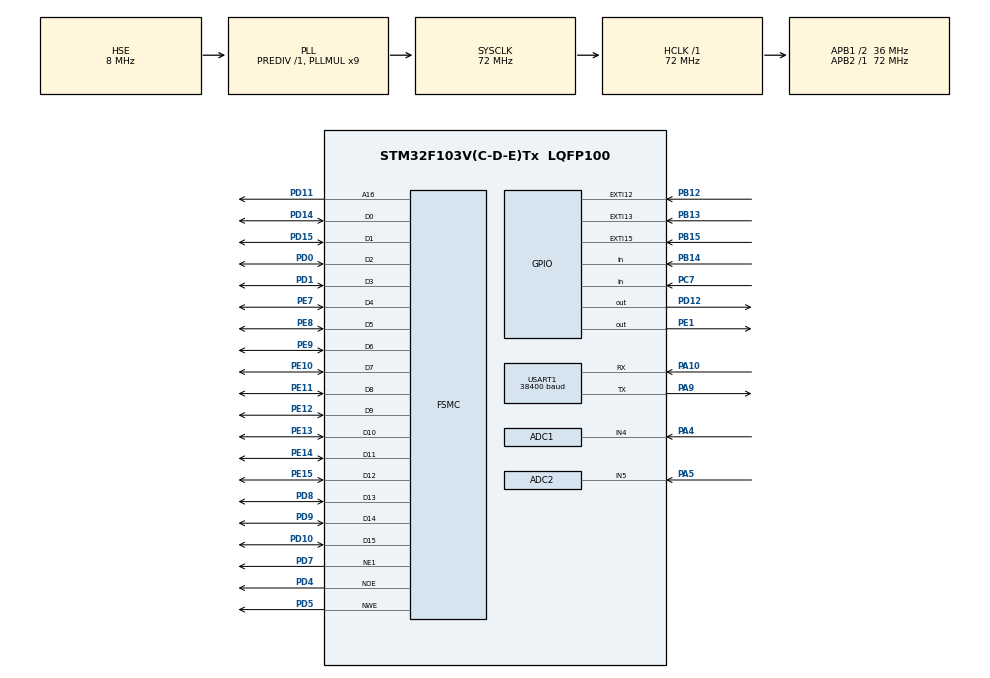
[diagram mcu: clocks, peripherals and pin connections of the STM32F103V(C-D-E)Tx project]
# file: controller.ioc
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ADC1.Channel-1\#ChannelRegularConversion=ADC_CHANNEL_4
ADC1.NbrOfConversion=1
ADC1.NbrOfConversionFlag=1
ADC1.Rank-1\#ChannelRegularConversion=1
ADC1.SamplingTime-1\#ChannelRegularConversion=ADC_SAMPLETIME_1CYCLE_5
ADC1.master=1
ADC2.Channel-0\#ChannelRegularConversion=ADC_CHANNEL_5
ADC2.NbrOfConversionFlag=1
ADC2.Rank-0\#ChannelRegularConversion=1
ADC2.SamplingTime-0\#ChannelRegularConversion=ADC_SAMPLETIME_1CYCLE_5
Dma.Request0=USART1_RX
Dma.USART1_RX.0.Direction=DMA_PERIPH_TO_MEMORY
Dma.USART1_RX.0.Instance=DMA1_Channel5
Dma.USART1_RX.0.MemDataAlignment=DMA_MDATAALIGN_BYTE
Dma.USART1_RX.0.MemInc=DMA_MINC_ENABLE
Dma.USART1_RX.0.Mode=DMA_CIRCULAR
Dma.USART1_RX.0.PeriphDataAlignment=DMA_PDATAALIGN_BYTE
Dma.USART1_RX.0.PeriphInc=DMA_PINC_DISABLE
Dma.USART1_RX.0.Priority=DMA_PRIORITY_LOW
Mcu.Family=STM32F1
Mcu.Name=STM32F103V(C-D-E)Tx
Mcu.Package=LQFP100
NVIC.DMA1_Channel5_IRQn=true\:0\:0\:false\:false\:true\:false\:true\:true
NVIC.EXTI15_10_IRQn=true\:0\:0\:false\:false\:true\:true\:true\:true
NVIC.PriorityGroup=NVIC_PRIORITYGROUP_4
NVIC.USART1_IRQn=true\:0\:0\:false\:false\:true\:true\:true\:true
OSC_IN.Mode=HSE-External-Oscillator
OSC_IN.Signal=RCC_OSC_IN
OSC_OUT.Mode=HSE-External-Oscillator
OSC_OUT.Signal=RCC_OSC_OUT
PA10.Mode=Asynchronous
PA10.Signal=USART1_RX
PA13.Mode=Serial_Wire
PA13.Signal=SYS_JTMS-SWDIO
PA14.Mode=Serial_Wire
PA14.Signal=SYS_JTCK-SWCLK
PA4.Signal=ADCx_IN4
PA5.Signal=ADCx_IN5
PA9.Mode=Asynchronous
PA9.Signal=USART1_TX
PB12.GPIO_ModeDefaultEXTI=GPIO_MODE_IT_RISING_FALLING
PB12.GPIO_PuPd=GPIO_PULLUP
PB12.Signal=GPXTI12
PB13.GPIO_ModeDefaultEXTI=GPIO_MODE_IT_FALLING
PB13.Signal=GPXTI13
PB14.Signal=GPIO_Input
PB15.GPIO_ModeDefaultEXTI=GPIO_MODE_IT_RISING
PB15.GPIO_PuPd=GPIO_PULLDOWN
PB15.Signal=GPXTI15
PC14-OSC32_IN.Mode=LSE-External-Oscillator
PC14-OSC32_IN.Signal=RCC_OSC32_IN
PC15-OSC32_OUT.Mode=LSE-External-Oscillator
PC15-OSC32_OUT.Signal=RCC_OSC32_OUT
PC5.Signal=ADCx_IN15
PC7.Signal=GPIO_Input
PD0.Mode=16b-d1
PD0.Signal=FSMC_D2
PD1.Mode=16b-d1
PD1.Signal=FSMC_D3
PD10.Mode=16b-d1
PD10.Signal=FSMC_D15
PD11.Mode=A16_1
PD11.Signal=FSMC_A16
PD12.GPIO_Speed=GPIO_SPEED_FREQ_HIGH
PD12.Signal=GPIO_Output
PD14.Mode=16b-d1
PD14.Signal=FSMC_D0
PD15.Mode=16b-d1
PD15.Signal=FSMC_D1
PD4.Mode=Lcd1
PD4.Signal=FSMC_NOE
PD5.Mode=Lcd1
PD5.Signal=FSMC_NWE
PD7.Mode=NorPsramChipSelect1_1
PD7.Signal=FSMC_NE1
PD8.Mode=16b-d1
PD8.Signal=FSMC_D13
PD9.Mode=16b-d1
PD9.Signal=FSMC_D14
PE1.GPIO_Speed=GPIO_SPEED_FREQ_HIGH
PE1.Signal=GPIO_Output
PE10.Mode=16b-d1
PE10.Signal=FSMC_D7
PE11.Mode=16b-d1
PE11.Signal=FSMC_D8
PE12.Mode=16b-d1
PE12.Signal=FSMC_D9
PE13.Mode=16b-d1
PE13.Signal=FSMC_D10
PE14.Mode=16b-d1
PE14.Signal=FSMC_D11
PE15.Mode=16b-d1
PE15.Signal=FSMC_D12
PE7.Mode=16b-d1
PE7.Signal=FSMC_D4
PE8.Mode=16b-d1
PE8.Signal=FSMC_D5
PE9.Mode=16b-d1
PE9.Signal=FSMC_D6
ProjectManager.HeapSize=0x200
ProjectManager.StackSize=0x400
ProjectManager.TargetToolchain=STM32CubeIDE
RCC.ADCPresc=RCC_ADCPCLK2_DIV6
RCC.AHBFreq_Value=72000000
RCC.APB1CLKDivider=RCC_HCLK_DIV2
RCC.APB1Freq_Value=36000000
RCC.APB1TimFreq_Value=72000000
RCC.APB2Freq_Value=72000000
RCC.APB2TimFreq_Value=72000000
RCC.HCLKFreq_Value=72000000
RCC.PLLMUL=RCC_PLL_MUL9
RCC.PLLSourceVirtual=RCC_PLLSOURCE_HSE
RCC.SYSCLKFreq_VALUE=72000000
RCC.SYSCLKSource=RCC_SYSCLKSOURCE_PLLCLK
RCC.USBFreq_Value=72000000
SH.ADCx_IN15.0=ADC1_IN15
SH.ADCx_IN4.0=ADC1_IN4,IN4
SH.ADCx_IN5.0=ADC2_IN5,IN5
USART1.BaudRate=38400
USART1.VirtualMode=VM_ASYNC
board=custom

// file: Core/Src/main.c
/* USER CODE BEGIN Header */
/**
  ******************************************************************************
  * @file           : main.c
  * @brief          : Main program body
  ******************************************************************************
  * @attention
  *
  * Copyright (c) 2025 STMicroelectronics.
  * All rights reserved.
  *
  * This software is licensed under terms that can be found in the LICENSE file
  * in the root directory of this software component.
  * If no LICENSE file comes with this software, it is provided AS-IS.
  *
  ******************************************************************************
  */
/* USER CODE END Header */
#include "main.h"

/* USER CODE BEGIN Includes */
#include "lcd.h"
#include "setting.h"
#include "adc_handler.h"
#include "uart_comm.h"
#include "display_manager.h"
#include "callback.h"
#include "car_map.h"
#include "car_vector.h"
#include "uart_handler.h"

/* USER CODE END Includes */

/* USER CODE BEGIN PD */
#define DMA_BUFFER_SIZE 256
#define MAP_CENTER_X 112
#define MAP_CENTER_Y 192
#define CAR_TOPLEFT_X 112
#define CAR_TOPLEFT_Y 192
#define DISPLAY_CENTER_X 120    // Center x-coordinate of the map display area
#define DISPLAY_CENTER_Y 200    // Center y-coordinate of the map display area (80 + 240/2)
#define DISPLAY_WIDTH 240       // Width of the map display area
#define DISPLAY_HEIGHT 240

/* USER CODE END PD */

ADC_HandleTypeDef hadc1;
ADC_HandleTypeDef hadc2;
UART_HandleTypeDef huart1;
DMA_HandleTypeDef hdma_usart1_rx;
SRAM_HandleTypeDef hsram1;

/* USER CODE BEGIN PV */

volatile int8_t scaling = 2; // Position counter updated in ISR
volatile uint32_t last_pb12_interrupt_time = 0;
volatile uint32_t last_pb15_interrupt_time = 0;
volatile uint32_t last_pb13_interrupt_time = 0;
volatile uint8_t control_page_toggle = 0; // 0=main, 1=control
volatile uint8_t spinner_action = 0;
volatile uint8_t drawmap_interrupt_flag = 0;
int8_t control_current_value[16] = {0}; // Total 16 settings
int16_t car_x_pos = 0;
int16_t car_y_pos = 0;
uint8_t global_var1[11];
uint8_t global_var2[7];
uint8_t selected_index = 0;
char str[32];
const Setting mySetting = {
    .min = {1, 10, 0, 1, 10, -90, 10, 1, 0, 0, 0, 0, 0, 0, 0, 0},
    .max = {5, 50, 1, 10, 90, 90, 127, 6, 0, 0, 0, 0, 0, 0, 0, 0},
    .step = {1, 5, 1, 1, 5, 1, 5, 1, 0, 0, 0, 0, 0, 0, 0, 0},
    .num_setting = 8,
    .setting_names = {
        "Max Movement Speed",
        "Max Steering Angle",
        "Enable Scan",
        "Scan Cycle",
        "Scan Range",
        "Scan Offset",
        "Scan Distance",
        "Safty Distance"
        // Remaining 10 elements (6 to 15) are automatically NULL
    },
    .setting_unit = {
      "cm/s","deg","T/F","s/cycle","deg","deg","cm","cm"
    }
};

/* USER CODE END PV */

void SystemClock_Config(void);
static void MX_GPIO_Init(void);
static void MX_DMA_Init(void);
static void MX_USART1_UART_Init(void);
static void MX_FSMC_Init(void);
static void MX_ADC1_Init(void);
static void MX_ADC2_Init(void);
/* USER CODE BEGIN PFP */
void HAL_GPIO_EXTI_Callback(uint16_t GPIO_Pin);

/* USER CODE END PFP */

/* USER CODE BEGIN 0 */

void HAL_GPIO_EXTI_Callback(uint16_t GPIO_Pin)
 {
  //if (drawmap_interrupt_flag==1) return;

	if (GPIO_Pin == GPIO_PIN_13) {
	        if (control_page_toggle == 0)  //car mode
	        	handle_car_map(GPIO_Pin);
	        else if (control_page_toggle == 1)  // Config mode
	        	 handle_control_setting(GPIO_Pin);
	    }
   if (GPIO_Pin == GPIO_PIN_15) {
	   handle_page_flag_toggle(GPIO_Pin);
   }

   if (GPIO_Pin == GPIO_PIN_12) {

	   if (control_page_toggle==0){
      handle_speaker_action(GPIO_Pin);
      }
   }
 }

 void onChunkUpdated(Vec2i8 chunk_coord, uint64_t chunkData) {
  //if (drawmap_interrupt_flag==1) return;
  if (control_page_toggle == 0){

   // Compute global pixel coordinates for the chunk
   int16_t min_global_x = chunk_coord.x * CHUNK_PIXEL_DIM;
   int16_t max_global_x = min_global_x + CHUNK_PIXEL_DIM - 1;
   int16_t min_global_y = chunk_coord.y * CHUNK_PIXEL_DIM;
   int16_t max_global_y = min_global_y + CHUNK_PIXEL_DIM - 1;

   // Compute the range of global coordinates visible on the display with scaling
   int offset = DISPLAY_WIDTH / (2 * scaling);  // e.g., 240 / 4 = 60 for scaling = 2
   int16_t display_min_global_x = car_x_pos - offset;           // e.g., car_x_pos - 60
   int16_t display_max_global_x = car_x_pos + offset - 1;       // e.g., car_x_pos + 59
   int16_t display_min_global_y = car_y_pos - offset;           // e.g., car_y_pos - 60
   int16_t display_max_global_y = car_y_pos + offset - 1;       // e.g., car_y_pos + 59

   // Compute the overlapping region between the chunk and the display area
   int16_t overlap_min_x = (min_global_x > display_min_global_x) ? min_global_x : display_min_global_x;
   int16_t overlap_max_x = (max_global_x < display_max_global_x) ? max_global_x : display_max_global_x;
   int16_t overlap_min_y = (min_global_y > display_min_global_y) ? min_global_y : display_min_global_y;
   int16_t overlap_max_y = (max_global_y < display_max_global_y) ? max_global_y : display_max_global_y;

   // If there’s an overlap, draw the pixels
   if (overlap_min_x <= overlap_max_x && overlap_min_y <= overlap_max_y) {
       for (int16_t global_y = overlap_min_y; global_y <= overlap_max_y; global_y++) {
           for (int16_t global_x = overlap_min_x; global_x <= overlap_max_x; global_x++) {
               // Compute local coordinates within the chunk
               int8_t local_x = global_x - min_global_x;
               int8_t local_y = global_y - min_global_y;
               uint64_t bitIndex = (uint64_t)local_y * CHUNK_PIXEL_DIM + (uint64_t)local_x;
               uint8_t pixel = (chunkData >> bitIndex) & 1ULL;

               // Compute base LCD coordinates with scaling, centering the car at (120, 200)
               int16_t lcd_x_base = DISPLAY_CENTER_X + scaling * (global_x - car_x_pos);
               int16_t lcd_y_base = DISPLAY_CENTER_Y + scaling * (global_y - car_y_pos);

               // Determine the color based on the pixel value
               uint16_t color = (pixel == 1) ? BLACK : BACKGROUND;

               // Draw a scaling x scaling block (e.g., 2x2 for scaling = 2)
               for (int dy = 0; dy < scaling; dy++) {
                   for (int dx = 0; dx < scaling; dx++) {
                       int16_t lcd_x = lcd_x_base + dx;
                       int16_t lcd_y = lcd_y_base + dy;
                       // Ensure the pixel is within the map display area (0-239, 80-319)
                       if (lcd_x >= 0 && lcd_x < DISPLAY_WIDTH && lcd_y >= 80 && lcd_y < 80 + DISPLAY_HEIGHT) {
                           LCD_DrawDot(lcd_x, lcd_y, color);
                       }
                   }
               }
           }
       }
   }
  }
}

/* USER CODE END 0 */

int main(void)
{

  /* MCU Configuration--------------------------------------------------------*/

  /* Reset of all peripherals, Initializes the Flash interface and the Systick. */
  HAL_Init();

  /* Configure the system clock */
  SystemClock_Config();

  /* Initialize all configured peripherals */
  MX_GPIO_Init();
  MX_DMA_Init();
  MX_USART1_UART_Init();
  MX_FSMC_Init();
  MX_ADC1_Init();
  MX_ADC2_Init();
  /* USER CODE BEGIN 2 */

 LCD_INIT();
 HAL_ADCEx_Calibration_Start(&hadc1);
 HAL_ADCEx_Calibration_Start(&hadc2);
 start_uart_dma();
  /* USER CODE END 2 */

  /* Infinite loop */
  /* USER CODE BEGIN WHILE */
 static uint8_t last_page_toggle = 255;
  while (1)
  {
	  if (HAL_GPIO_ReadPin(GPIOC, GPIO_PIN_7) == GPIO_PIN_RESET) {
	             display_disconnected();
	         } else {
	             handle_page_toggle(&last_page_toggle);
	             if (control_page_toggle == 0) { //Car mode
	                 process_adc_and_transmit(); //car movement control
                   draw_car_information(global_var2); //7 bytes
                   display_arrow_inmap(global_var2[1],global_var2[2]); //dir,speed
	             } else {  //Config mode
	                 process_control_mode();
	             }
	         }
	  process_packets();
	  HAL_Delay(100);
}

    /* USER CODE END WHILE */

}

void SystemClock_Config(void)
{
  RCC_OscInitTypeDef RCC_OscInitStruct = {0};
  RCC_ClkInitTypeDef RCC_ClkInitStruct = {0};
  RCC_PeriphCLKInitTypeDef PeriphClkInit = {0};

  /** Initializes the RCC Oscillators according to the specified parameters
  * in the RCC_OscInitTypeDef structure.
  */
  RCC_OscInitStruct.OscillatorType = RCC_OSCILLATORTYPE_HSE;
  RCC_OscInitStruct.HSEState = RCC_HSE_ON;
  RCC_OscInitStruct.HSEPredivValue = RCC_HSE_PREDIV_DIV1;
  RCC_OscInitStruct.HSIState = RCC_HSI_ON;
  RCC_OscInitStruct.PLL.PLLState = RCC_PLL_ON;
  RCC_OscInitStruct.PLL.PLLSource = RCC_PLLSOURCE_HSE;
  RCC_OscInitStruct.PLL.PLLMUL = RCC_PLL_MUL9;
  if (HAL_RCC_OscConfig(&RCC_OscInitStruct) != HAL_OK)
  {
    Error_Handler();
  }

  /** Initializes the CPU, AHB and APB buses clocks
  */
  RCC_ClkInitStruct.ClockType = RCC_CLOCKTYPE_HCLK|RCC_CLOCKTYPE_SYSCLK
                              |RCC_CLOCKTYPE_PCLK1|RCC_CLOCKTYPE_PCLK2;
  RCC_ClkInitStruct.SYSCLKSource = RCC_SYSCLKSOURCE_PLLCLK;
  RCC_ClkInitStruct.AHBCLKDivider = RCC_SYSCLK_DIV1;
  RCC_ClkInitStruct.APB1CLKDivider = RCC_HCLK_DIV2;
  RCC_ClkInitStruct.APB2CLKDivider = RCC_HCLK_DIV1;

  if (HAL_RCC_ClockConfig(&RCC_ClkInitStruct, FLASH_LATENCY_2) != HAL_OK)
  {
    Error_Handler();
  }
  PeriphClkInit.PeriphClockSelection = RCC_PERIPHCLK_ADC;
  PeriphClkInit.AdcClockSelection = RCC_ADCPCLK2_DIV6;
  if (HAL_RCCEx_PeriphCLKConfig(&PeriphClkInit) != HAL_OK)
  {
    Error_Handler();
  }
}

static void MX_ADC1_Init(void)
{

  ADC_ChannelConfTypeDef sConfig = {0};

  /** Common config
  */
  hadc1.Instance = ADC1;
  hadc1.Init.ScanConvMode = ADC_SCAN_DISABLE;
  hadc1.Init.ContinuousConvMode = DISABLE;
  hadc1.Init.DiscontinuousConvMode = DISABLE;
  hadc1.Init.ExternalTrigConv = ADC_SOFTWARE_START;
  hadc1.Init.DataAlign = ADC_DATAALIGN_RIGHT;
  hadc1.Init.NbrOfConversion = 1;
  if (HAL_ADC_Init(&hadc1) != HAL_OK)
  {
    Error_Handler();
  }

  /** Configure Regular Channel
  */
  sConfig.Channel = ADC_CHANNEL_4;
  sConfig.Rank = ADC_REGULAR_RANK_1;
  sConfig.SamplingTime = ADC_SAMPLETIME_1CYCLE_5;
  if (HAL_ADC_ConfigChannel(&hadc1, &sConfig) != HAL_OK)
  {
    Error_Handler();
  }

}

static void MX_ADC2_Init(void)
{

  ADC_ChannelConfTypeDef sConfig = {0};

  /** Common config
  */
  hadc2.Instance = ADC2;
  hadc2.Init.ScanConvMode = ADC_SCAN_DISABLE;
  hadc2.Init.ContinuousConvMode = DISABLE;
  hadc2.Init.DiscontinuousConvMode = DISABLE;
  hadc2.Init.ExternalTrigConv = ADC_SOFTWARE_START;
  hadc2.Init.DataAlign = ADC_DATAALIGN_RIGHT;
  hadc2.Init.NbrOfConversion = 1;
  if (HAL_ADC_Init(&hadc2) != HAL_OK)
  {
    Error_Handler();
  }

  /** Configure Regular Channel
  */
  sConfig.Channel = ADC_CHANNEL_5;
  sConfig.Rank = ADC_REGULAR_RANK_1;
  sConfig.SamplingTime = ADC_SAMPLETIME_1CYCLE_5;
  if (HAL_ADC_ConfigChannel(&hadc2, &sConfig) != HAL_OK)
  {
    Error_Handler();
  }

}

static void MX_USART1_UART_Init(void)
{

  huart1.Instance = USART1;
  huart1.Init.BaudRate = 38400;
  huart1.Init.WordLength = UART_WORDLENGTH_8B;
  huart1.Init.StopBits = UART_STOPBITS_1;
  huart1.Init.Parity = UART_PARITY_NONE;
  huart1.Init.Mode = UART_MODE_TX_RX;
  huart1.Init.HwFlowCtl = UART_HWCONTROL_NONE;
  huart1.Init.OverSampling = UART_OVERSAMPLING_16;
  if (HAL_UART_Init(&huart1) != HAL_OK)
  {
    Error_Handler();
  }

}

static void MX_DMA_Init(void)
{

  /* DMA controller clock enable */
  __HAL_RCC_DMA1_CLK_ENABLE();

  /* DMA interrupt init */
  /* DMA1_Channel5_IRQn interrupt configuration */
  HAL_NVIC_SetPriority(DMA1_Channel5_IRQn, 0, 0);
  HAL_NVIC_EnableIRQ(DMA1_Channel5_IRQn);

}

static void MX_GPIO_Init(void)
{
  GPIO_InitTypeDef GPIO_InitStruct = {0};

  /* GPIO Ports Clock Enable */
  __HAL_RCC_GPIOC_CLK_ENABLE();
  __HAL_RCC_GPIOA_CLK_ENABLE();
  __HAL_RCC_GPIOE_CLK_ENABLE();
  __HAL_RCC_GPIOB_CLK_ENABLE();
  __HAL_RCC_GPIOD_CLK_ENABLE();

  /*Configure GPIO pin Output Level */
  HAL_GPIO_WritePin(GPIOD, GPIO_PIN_12, GPIO_PIN_RESET);

  /*Configure GPIO pin Output Level */
  HAL_GPIO_WritePin(GPIOE, GPIO_PIN_1, GPIO_PIN_RESET);

  /*Configure GPIO pin : PB12 */
  GPIO_InitStruct.Pin = GPIO_PIN_12;
  GPIO_InitStruct.Mode = GPIO_MODE_IT_RISING_FALLING;
  GPIO_InitStruct.Pull = GPIO_PULLUP;
  HAL_GPIO_Init(GPIOB, &GPIO_InitStruct);

  /*Configure GPIO pin : PB13 */
  GPIO_InitStruct.Pin = GPIO_PIN_13;
  GPIO_InitStruct.Mode = GPIO_MODE_IT_FALLING;
  GPIO_InitStruct.Pull = GPIO_NOPULL;
  HAL_GPIO_Init(GPIOB, &GPIO_InitStruct);

  /*Configure GPIO pin : PB14 */
  GPIO_InitStruct.Pin = GPIO_PIN_14;
  GPIO_InitStruct.Mode = GPIO_MODE_INPUT;
  GPIO_InitStruct.Pull = GPIO_NOPULL;
  HAL_GPIO_Init(GPIOB, &GPIO_InitStruct);

  /*Configure GPIO pin : PB15 */
  GPIO_InitStruct.Pin = GPIO_PIN_15;
  GPIO_InitStruct.Mode = GPIO_MODE_IT_RISING;
  GPIO_InitStruct.Pull = GPIO_PULLDOWN;
  HAL_GPIO_Init(GPIOB, &GPIO_InitStruct);

  /*Configure GPIO pin : PD12 */
  GPIO_InitStruct.Pin = GPIO_PIN_12;
  GPIO_InitStruct.Mode = GPIO_MODE_OUTPUT_PP;
  GPIO_InitStruct.Pull = GPIO_NOPULL;
  GPIO_InitStruct.Speed = GPIO_SPEED_FREQ_HIGH;
  HAL_GPIO_Init(GPIOD, &GPIO_InitStruct);

  /*Configure GPIO pin : PC7 */
  GPIO_InitStruct.Pin = GPIO_PIN_7;
  GPIO_InitStruct.Mode = GPIO_MODE_INPUT;
  GPIO_InitStruct.Pull = GPIO_NOPULL;
  HAL_GPIO_Init(GPIOC, &GPIO_InitStruct);

  /*Configure GPIO pin : PE1 */
  GPIO_InitStruct.Pin = GPIO_PIN_1;
  GPIO_InitStruct.Mode = GPIO_MODE_OUTPUT_PP;
  GPIO_InitStruct.Pull = GPIO_NOPULL;
  GPIO_InitStruct.Speed = GPIO_SPEED_FREQ_HIGH;
  HAL_GPIO_Init(GPIOE, &GPIO_InitStruct);

  /* EXTI interrupt init*/
  HAL_NVIC_SetPriority(EXTI15_10_IRQn, 0, 0);
  HAL_NVIC_EnableIRQ(EXTI15_10_IRQn);

}

/* FSMC initialization function */
static void MX_FSMC_Init(void)
{

  FSMC_NORSRAM_TimingTypeDef Timing = {0};

  /** Perform the SRAM1 memory initialization sequence
  */
  hsram1.Instance = FSMC_NORSRAM_DEVICE;
  hsram1.Extended = FSMC_NORSRAM_EXTENDED_DEVICE;
  /* hsram1.Init */
  hsram1.Init.NSBank = FSMC_NORSRAM_BANK1;
  hsram1.Init.DataAddressMux = FSMC_DATA_ADDRESS_MUX_DISABLE;
  hsram1.Init.MemoryType = FSMC_MEMORY_TYPE_SRAM;
  hsram1.Init.MemoryDataWidth = FSMC_NORSRAM_MEM_BUS_WIDTH_16;
  hsram1.Init.BurstAccessMode = FSMC_BURST_ACCESS_MODE_DISABLE;
  hsram1.Init.WaitSignalPolarity = FSMC_WAIT_SIGNAL_POLARITY_LOW;
  hsram1.Init.WrapMode = FSMC_WRAP_MODE_DISABLE;
  hsram1.Init.WaitSignalActive = FSMC_WAIT_TIMING_BEFORE_WS;
  hsram1.Init.WriteOperation = FSMC_WRITE_OPERATION_ENABLE;
  hsram1.Init.WaitSignal = FSMC_WAIT_SIGNAL_DISABLE;
  hsram1.Init.ExtendedMode = FSMC_EXTENDED_MODE_DISABLE;
  hsram1.Init.AsynchronousWait = FSMC_ASYNCHRONOUS_WAIT_DISABLE;
  hsram1.Init.WriteBurst = FSMC_WRITE_BURST_DISABLE;
  /* Timing */
  Timing.AddressSetupTime = 15;
  Timing.AddressHoldTime = 15;
  Timing.DataSetupTime = 255;
  Timing.BusTurnAroundDuration = 15;
  Timing.CLKDivision = 16;
  Timing.DataLatency = 17;
  Timing.AccessMode = FSMC_ACCESS_MODE_A;
  /* ExtTiming */

  if (HAL_SRAM_Init(&hsram1, &Timing, NULL) != HAL_OK)
  {
    Error_Handler( );
  }

  /** Disconnect NADV
  */

  __HAL_AFIO_FSMCNADV_DISCONNECTED();

}

void Error_Handler(void)
{
  __disable_irq();
  while (1)
  {
  }
}
